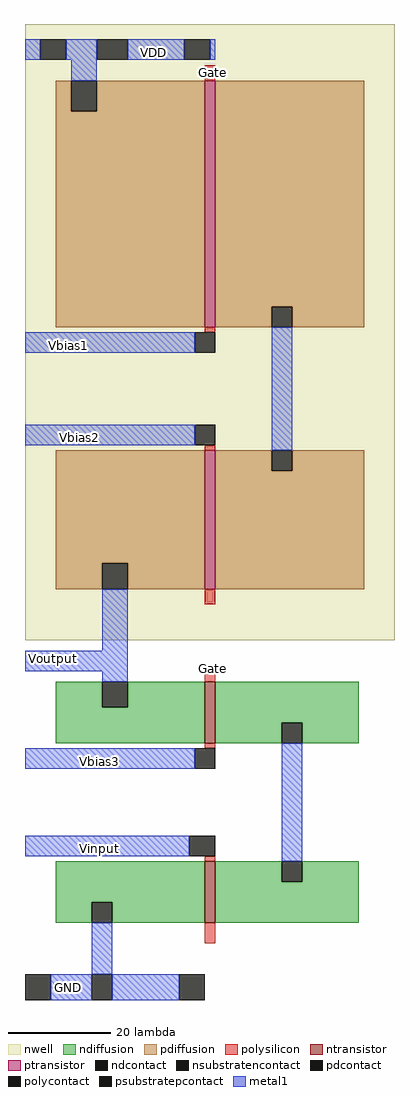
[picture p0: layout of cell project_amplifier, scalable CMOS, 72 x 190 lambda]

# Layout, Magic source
magic
tech scmos
<< nwell >>
rect -22 -65 50 55
<< ntransistor >>
rect 13 -85 15 -73
rect 13 -120 15 -108
<< ptransistor >>
rect 13 -4 15 44
rect 13 -55 15 -28
<< ndiffusion >>
rect -16 -78 -7 -73
rect -2 -78 13 -73
rect -16 -85 13 -78
rect 15 -81 43 -73
rect 15 -85 28 -81
rect 32 -85 43 -81
rect -16 -116 13 -108
rect -16 -120 -9 -116
rect -5 -120 13 -116
rect 15 -112 28 -108
rect 32 -112 43 -108
rect 15 -120 43 -112
<< pdiffusion >>
rect -16 38 -13 44
rect -8 38 13 44
rect -16 -4 13 38
rect 15 0 44 44
rect 15 -4 26 0
rect 30 -4 44 0
rect -16 -50 13 -28
rect -16 -55 -7 -50
rect -2 -55 13 -50
rect 15 -32 26 -28
rect 30 -32 44 -28
rect 15 -55 44 -32
<< ndcontact >>
rect -7 -78 -2 -73
rect 28 -85 32 -81
rect -9 -120 -5 -116
rect 28 -112 32 -108
<< pdcontact >>
rect -13 38 -8 44
rect 26 -4 30 0
rect -7 -55 -2 -50
rect 26 -32 30 -28
<< psubstratepcontact >>
rect -22 -135 -17 -130
rect -9 -135 -5 -130
rect 8 -135 13 -130
<< nsubstratencontact >>
rect -19 48 -14 52
rect -8 48 -2 52
rect 9 48 14 52
<< polysilicon >>
rect 13 44 15 47
rect 13 -5 15 -4
rect 13 -28 15 -27
rect 13 -58 15 -55
rect 13 -73 15 -70
rect 13 -86 15 -85
rect 13 -108 15 -107
rect 13 -124 15 -120
<< polycontact >>
rect 11 -9 15 -5
rect 11 -27 15 -23
rect 11 -90 15 -86
rect 10 -107 15 -103
<< metal1 >>
rect -22 48 -19 52
rect -14 48 -8 52
rect -2 48 9 52
rect 14 48 15 52
rect -13 44 -8 48
rect -22 -9 11 -5
rect -22 -27 11 -23
rect 26 -28 30 -4
rect -7 -67 -2 -55
rect -22 -71 -2 -67
rect -7 -73 -2 -71
rect -22 -90 11 -86
rect -22 -107 10 -103
rect 28 -108 32 -85
rect -9 -130 -5 -120
rect -17 -135 -9 -130
rect -5 -135 8 -130
<< labels >>
rlabel metal1 2 49 4 50 1 VDD
rlabel metal1 -15 -8 -12 -7 1 Vbias1
rlabel metal1 -13 -26 -10 -25 1 Vbias2
rlabel metal1 -9 -89 -6 -88 1 Vbias3
rlabel metal1 -9 -106 -6 -105 1 Vinput
rlabel metal1 -15 -133 -12 -132 1 GND
rlabel metal1 -18 -69 -15 -68 1 Voutput
rlabel nwell 13 45 16 46 1 Gate
rlabel space 13 -71 16 -70 1 Gate
<< end >>
